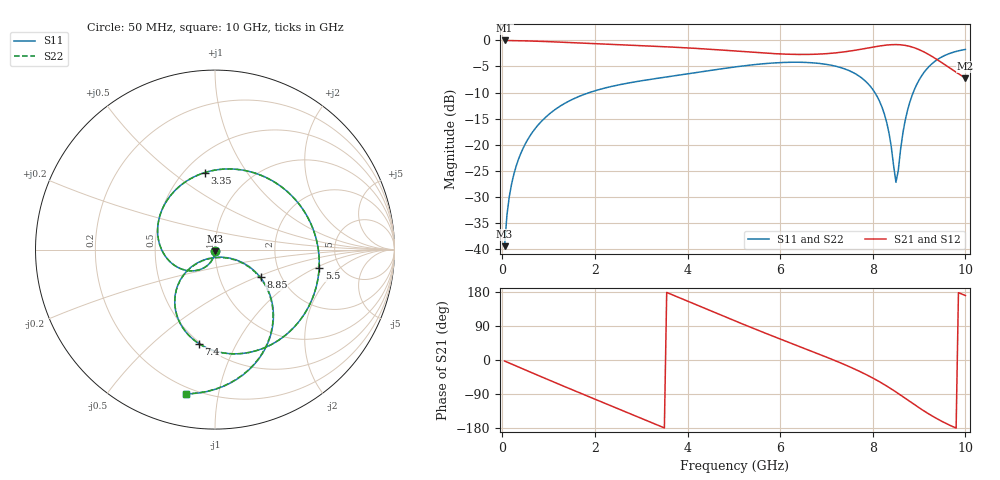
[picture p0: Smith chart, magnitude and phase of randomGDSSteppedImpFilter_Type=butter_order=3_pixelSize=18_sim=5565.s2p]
! freq	dB(S11)	phase(S11)	dB(S12)	phase(S12)
!  dB(S21)	phase(S21)	dB(S22)	phase(S22)
!S-par simulation data
#  GHz  S  DB  R 50
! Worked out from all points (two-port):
!   200 points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, 50 MHz to 10 GHz, reference 50 ohm
!   highest |S21| = 0.00 dB at 50 MHz (marker M1); lowest = -7.3 dB at 10 GHz (marker M2)
!   |S21| within 3 dB of the highest: start of sweep to 9.266 GHz
!   lowest |S11| = -39.5 dB at 50 MHz (marker M3), VSWR 1.02, Z = 50 - j1.06 ohm
!   |S11| at or under -10 dB: start of sweep to 1.885 GHz; 8.043 GHz to 8.874 GHz (830.7 MHz wide, 9.82 % of centre)
!   |S22| runs from -39.5 to -1.7 dB; largest |S21 - S12| = 0
!   S11 on the Smith chart (normalised r, x): 50 MHz: 1.00, -0.02; 3.35 GHz: 0.62, +0.66; 5.5 GHz: 3.49, -1.10; 7.4 GHz: 0.49, -0.72; 8.85 GHz: 1.57, -0.53; 10 GHz: 0.17, -0.81
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0.05  -39.52 -92.0  -0.00 -2.7  -0.00 -2.7  -39.52 -92.0
0.1  -33.55 -94.9  -0.01 -5.3  -0.01 -5.3  -33.55 -94.9
0.2  -27.59 -100.6  -0.03 -10.6  -0.03 -10.6  -27.59 -100.6
0.5  -19.81 -116.8  -0.08 -26.4  -0.08 -26.4  -19.81 -116.8
1.15  -13.21 -150.8  -0.28 -60.1  -0.28 -60.1  -13.21 -150.8
1.75  -10.43 178.6  -0.52 -90.7  -0.52 -90.7  -10.43 178.5
2.65  -8.30 133.2  -0.87 -136.1  -0.87 -136.1  -8.30 133.0
3.35  -7.27 97.8  -1.14 -171.6  -1.14 -171.6  -7.28 97.6
3.4  -7.21 95.2  -1.16 -174.1  -1.16 -174.1  -7.21 95.0
4.1  -6.28 59.6  -1.48 150.2  -1.48 150.2  -6.29 59.4
5.05  -5.06 11.9  -2.05 101.9  -2.05 101.9  -5.06 11.7
5.5  -4.59 -10.1  -2.33 79.6  -2.33 79.6  -4.59 -10.2
6.7  -4.30 -66.4  -2.67 22.1  -2.67 22.1  -4.30 -66.5
7.4  -5.48 -99.6  -2.18 -12.6  -2.18 -12.6  -5.48 -99.7
8  -9.42 -131.1  -1.29 -47.6  -1.29 -47.6  -9.42 -131.0
8.35  -17.76 -143.4  -0.85 -72.5  -0.85 -72.5  -17.71 -142.7
8.5  -27.25 -91.5  -0.80 -84.3  -0.80 -84.3  -26.87 -91.5
8.7  -15.36 -25.2  -0.95 -100.9  -0.95 -100.9  -15.34 -26.0
8.85  -10.54 -31.4  -1.27 -113.6  -1.27 -113.6  -10.53 -31.9
9.3  -4.31 -61.8  -3.18 -149.0  -3.18 -149.0  -4.31 -62.1
9.65  -2.53 -83.2  -5.21 -171.4  -5.21 -171.4  -2.53 -83.5
10  -1.73 -101.2  -7.26 170.2  -7.26 170.2  -1.73 -101.4
